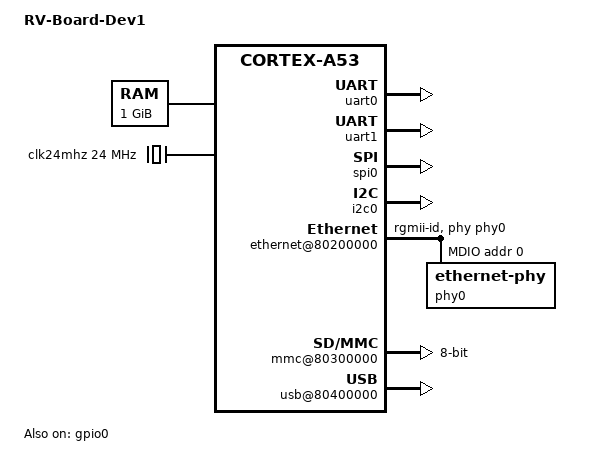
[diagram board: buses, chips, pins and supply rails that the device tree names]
/dts-v1/;

/ {
    model = "RV-Board-Dev1";
    compatible = "rv,soc-1000", "arm,cortex-a53";

    #address-cells = <2>;
    #size-cells = <2>;

    chosen {
        stdout-path = "serial0:115200n8";
        bootargs = "console=ttyS0,115200 root=/dev/mmcblk0p2 rootfstype=ext4 rootwait";
    };

    memory@80000000 {
        device_type = "memory";
        reg = <0x0 0x80000000 0x0 0x40000000>; /* 1GB */
    };

    cpus {
        #address-cells = <1>;
        #size-cells = <0>;

        cpu0: cpu@0 {
            device_type = "cpu";
            compatible = "arm,cortex-a53";
            reg = <0x0>;
            enable-method = "psci";
            next-level-cache = <&L2_0>;
            cpu-idle-states = <&CPU_SLEEP_0>;
        };

        cpu1: cpu@1 {
            device_type = "cpu";
            compatible = "arm,cortex-a53";
            reg = <0x1>;
            enable-method = "psci";
            next-level-cache = <&L2_0>;
            cpu-idle-states = <&CPU_SLEEP_0>;
        };

        cpu2: cpu@2 {
            device_type = "cpu";
            compatible = "arm,cortex-a53";
            reg = <0x2>;
            enable-method = "psci";
            next-level-cache = <&L2_0>;
            cpu-idle-states = <&CPU_SLEEP_0>;
        };

        cpu3: cpu@3 {
            device_type = "cpu";
            compatible = "arm,cortex-a53";
            reg = <0x3>;
            enable-method = "psci";
            next-level-cache = <&L2_0>;
            cpu-idle-states = <&CPU_SLEEP_0>;
        };

        idle-states {
            entry-method = "psci";

            CPU_SLEEP_0: cpu-sleep-0 {
                compatible = "arm,idle-state";
                idle-state-name = "cpu-retention";
                arm,psci-suspend-param = <0x00000001>;
                entry-latency-us = <50>;
                exit-latency-us = <100>;
                min-residency-us = <300>;
            };
        };

        L2_0: l2-cache0 {
            compatible = "cache";
            cache-level = <2>;
            cache-size = <0x80000>;
            cache-line-size = <64>;
            cache-sets = <512>;
        };
    };

    psci {
        compatible = "arm,psci-1.0";
        method = "smc";
    };

    timer {
        compatible = "arm,armv8-timer";
        interrupts = <1 13 0xf08>,
                     <1 14 0xf08>,
                     <1 11 0xf08>,
                     <1 10 0xf08>;
        clock-frequency = <24000000>;
    };

    soc {
        compatible = "simple-bus";
        #address-cells = <2>;
        #size-cells = <2>;
        ranges;

        uart0: serial@80120000 {
            compatible = "arm,pl011", "arm,primecell";
            reg = <0x0 0x80120000 0x0 0x1000>;
            interrupts = <0 50 4>;
            clocks = <&clk24mhz>, <&clk24mhz>;
            clock-names = "uartclk", "apb_pclk";
            status = "okay";
        };

        uart1: serial@80121000 {
            compatible = "arm,pl011", "arm,primecell";
            reg = <0x0 0x80121000 0x0 0x1000>;
            interrupts = <0 51 4>;
            clocks = <&clk24mhz>, <&clk24mhz>;
            clock-names = "uartclk", "apb_pclk";
            status = "okay";
        };

        gpio0: gpio@80120000 {
            compatible = "rv,gpio";
            reg = <0x0 0x80120000 0x0 0x1000>;
            interrupts = <0 60 4>;
            gpio-controller;
            #gpio-cells = <2>;
            status = "okay";
        };

        spi0: spi@80122000 {
            compatible = "rv,spi";
            reg = <0x0 0x80122000 0x0 0x1000>;
            interrupts = <0 70 4>;
            clocks = <&clk24mhz>;
            #address-cells = <1>;
            #size-cells = <0>;
            status = "okay";
        };

        i2c0: i2c@80123000 {
            compatible = "rv,i2c";
            reg = <0x0 0x80123000 0x0 0x1000>;
            interrupts = <0 80 4>;
            clocks = <&clk24mhz>;
            #address-cells = <1>;
            #size-cells = <0>;
            status = "okay";
        };

        ethernet@80200000 {
            compatible = "rv,eth";
            reg = <0x0 0x80200000 0x0 0x10000>;
            interrupts = <0 90 4>;
            phy-mode = "rgmii-id";
            phy-handle = <&phy0>;
            status = "okay";

            mdio {
                #address-cells = <1>;
                #size-cells = <0>;

                phy0: ethernet-phy@0 {
                    reg = <0>;
                    max-speed = <1000>;
                };
            };
        };

        mmc@80300000 {
            compatible = "rv,sdhci";
            reg = <0x0 0x80300000 0x0 0x10000>;
            interrupts = <0 100 4>;
            bus-width = <8>;
            status = "okay";
        };

        usb@80400000 {
            compatible = "rv,usb";
            reg = <0x0 0x80400000 0x0 0x10000>;
            interrupts = <0 110 4>;
            status = "okay";
        };
    };

    clk24mhz: clk24mhz {
        compatible = "fixed-clock";
        #clock-cells = <0>;
        clock-frequency = <24000000>;
        clock-output-names = "clk24mhz";
    };
};
